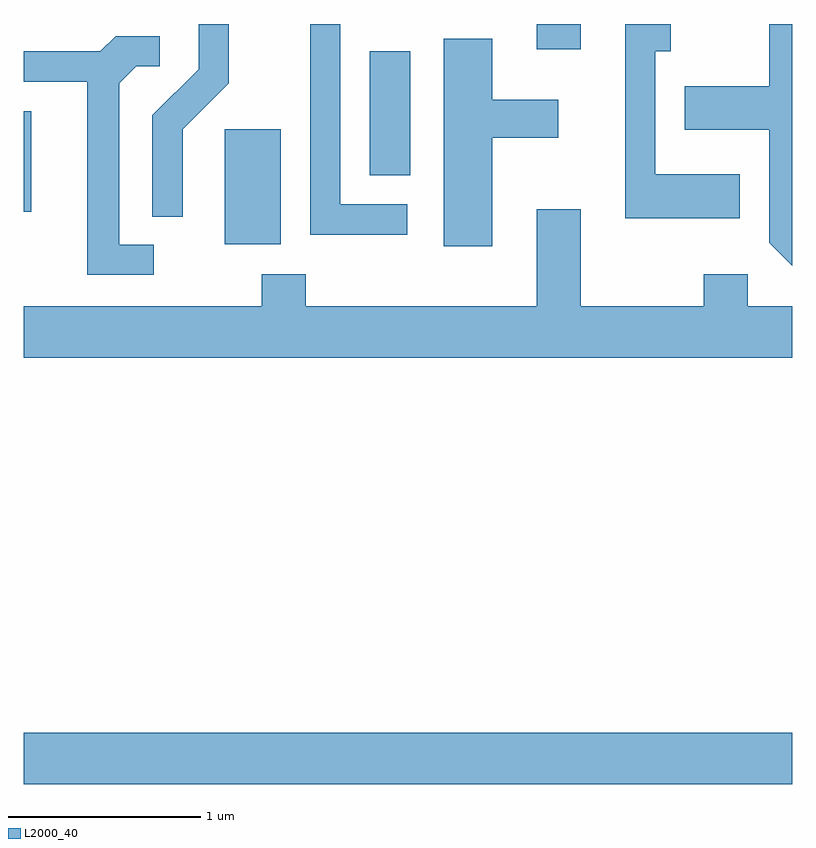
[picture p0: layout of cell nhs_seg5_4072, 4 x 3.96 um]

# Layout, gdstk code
import gdstk
lib = gdstk.Library(unit=1e-6, precision=1e-09)
def R(c, l, rs):  # rectangles x0, y0, x1, y1
    for r in rs: c.add(gdstk.rectangle(r[:2], r[2:], *l))
def P(c, l, *ps):  # polygons
    for p in ps: c.add(gdstk.Polygon(p, *l))
L2000_40 = (2000, 40)

nhs_seg5_4072 = lib.new_cell('nhs_seg5_4072')
R(nhs_seg5_4072, L2000_40, [(305.611,1470.116,309.611,1470.384), (306.656,1472.926,306.949,1473.524), (305.611,1473.096,305.649,1473.619), (307.411,1473.286,307.624,1473.929), (308.281,1473.941,308.509,1474.072)])
P(nhs_seg5_4072, L2000_40, [(309.611,1474.072),(309.491,1474.072),(309.491,1473.749),(309.051,1473.749),(309.051,1473.521),(309.491,1473.521),(309.491,1472.934),(309.611,1472.814)],
  [(309.339,1473.289),(308.899,1473.289),(308.899,1473.931),(308.978,1473.931),(308.978,1474.072),(308.741,1474.072),(308.741,1473.061),(309.339,1473.061)],
  [(306.439,1473.524),(306.679,1473.764),(306.679,1474.072),(306.521,1474.072),(306.521,1473.837),(306.281,1473.597),(306.281,1473.068),(306.439,1473.068)],
  [(307.608,1473.134),(307.259,1473.134),(307.259,1474.072),(307.101,1474.072),(307.101,1472.976),(307.608,1472.976)],
  [(306.288,1472.924),(306.109,1472.924),(306.109,1473.764),(306.197,1473.851),(306.318,1473.851),(306.318,1474.009),(306.089,1474.009),(306.009,1473.929),(305.611,1473.929),(305.611,1473.771),(305.941,1473.771),(305.941,1472.766),(306.288,1472.766)],
  [(308.049,1473.481),(308.394,1473.481),(308.394,1473.679),(308.049,1473.679),(308.049,1473.994),(307.796,1473.994),(307.796,1472.916),(308.049,1472.916)],
  [(309.611,1472.604),(309.379,1472.604),(309.379,1472.769),(309.151,1472.769),(309.151,1472.604),(308.509,1472.604),(308.509,1473.109),(308.281,1473.109),(308.281,1472.604),(307.079,1472.604),(307.079,1472.769),(306.851,1472.769),(306.851,1472.604),(305.611,1472.604),(305.611,1472.336),(309.611,1472.336)])

lib.write_gds('nhs_seg5_4072.gds')
